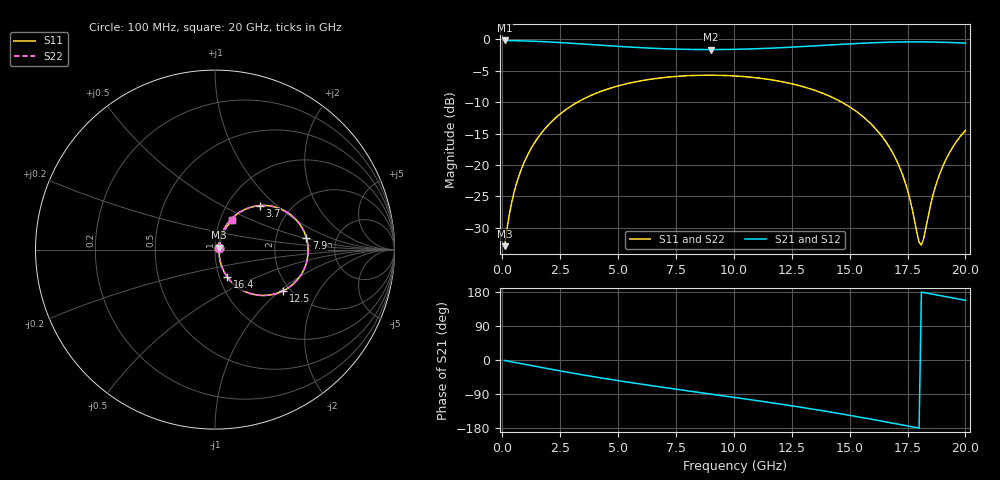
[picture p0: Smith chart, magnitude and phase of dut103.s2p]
! Touchstone file exported from HFSS 2026.1.0
!  File:  C:/ffzhzh/LocalFiles/Ansys_Project_Files/temp_train_TSV_RDL_103_1783044517_36532.aedt
!  Generated:  10:24:55 AM Jul  3, 2026
!  Design:  TSV_RDL
!  Project:  temp_train_TSV_RDL_103_1783044517_36532
! Variables:
!  h_bsmrdl = 3.23um
!  h_ox = 20um
!  h_rdl = 5um
!  h_sub = 89.23um
!  h_tmrdl = 4.69um
!  h_tsv = 89.23um
!  h_via = 3um
!  l_bsmrdl = 704.51um
!  l_sub = 3194.52um
!  l_tmrdl = 126.71um
!  m_sub = 200um
!  pitch = 52.87um
!  r_tsv = 2.7um
!  s_tmrdl = 10um
!  w_bsmrdl = 28.29um
!  w_sub = 500um
!  w_tmrdl = 29.76um
!  x_tsv_center1 = 141.59um
!  x_tsv_center2 = 874.39um
!  x_tsv_center3 = 1030.86um
!  x_tsv_center4 = 1763.66um
!  x_tsv_center5 = 1920.13um
!  x_tsv_center6 = 2652.93um
# GHz S MA R 50.000000
! Terminal data exported
! Port[1] = TM_RDL1_1_T1
! Port[2] = TM_RDL5_1_T1
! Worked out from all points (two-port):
!   200 points, 100 MHz to 20 GHz, reference 50 ohm
!   highest |S21| = -0.17 dB at 100 MHz (marker M1); lowest = -1.6 dB at 9 GHz (marker M2)
!   |S21| within 3 dB of the highest: start of sweep to end of sweep
!   lowest |S11| = -32.9 dB at 100 MHz (marker M3), VSWR 1.05, Z = 52 + j1.19 ohm
!   |S11| at or under -10 dB: start of sweep to 3.247 GHz; 14.66 GHz to end of sweep
!   |S22| runs from -32.9 to -5.7 dB; largest |S21 - S12| = 2.5e-14
!   S11 on the Smith chart (normalised r, x): 100 MHz: 1.04, +0.02; 3.7 GHz: 1.41, +0.79; 7.9 GHz: 3.00, +0.54; 12.5 GHz: 1.83, -1.05; 16.4 GHz: 1.09, -0.35; 20 GHz: 1.14, +0.39
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0.1  0.02263 30.5  0.9807 -1.2  0.9807 -1.2  0.02263 30.5
! Gamma 0 0 0 0
! Port Impedance 50 0 50 0
0.3  0.04009 55.5  0.9789 -3.6  0.9789 -3.6  0.04009 55.5
0.5  0.05987 63.0  0.977 -6.0  0.977 -6.0  0.05987 63.0
1.2  0.1312 66.0  0.9691 -14.1  0.9691 -14.1  0.1312 66.0
2.2  0.2282 58.7  0.9507 -25.5  0.9507 -25.5  0.2282 58.7
3.5  0.3351 46.5  0.9184 -39.5  0.9184 -39.5  0.3351 46.5
3.7  0.3493 44.6  0.9131 -41.6  0.9131 -41.6  0.3493 44.6
6.8  0.4929 16.7  0.8454 -70.9  0.8454 -70.9  0.4929 16.7
7.9  0.513 7.4  0.8336 -80.4  0.8336 -80.4  0.513 7.4
9  0.519 -1.6  0.8297 -89.9  0.8297 -89.9  0.519 -1.6
10.1  0.5112 -10.7  0.8338 -99.3  0.8338 -99.3  0.5112 -10.7
12.5  0.4435 -31.2  0.8674 -120.9  0.8674 -120.9  0.4435 -31.2
13.4  0.3986 -39.3  0.8863 -129.6  0.8863 -129.6  0.3986 -39.3
15.1  0.2826 -55.0  0.9237 -147.1  0.9237 -147.1  0.2826 -55.0
16.4  0.1689 -65.8  0.9461 -161.4  0.9461 -161.4  0.1689 -65.8
16.7  0.1404 -67.5  0.9496 -164.8  0.9496 -164.8  0.1404 -67.5
17.4  0.07273 -66.3  0.9548 -172.8  0.9548 -172.8  0.0727 -66.3
18  0.02433 -20.7  0.9556 -179.7  0.9556 -179.7  0.02425 -20.8
18.1  0.02307 2.8  0.9554 179.1  0.9554 179.1  0.02298 2.8
18.6  0.05761 58.4  0.9528 173.4  0.9528 173.4  0.05758 58.4
18.9  0.08595 63.0  0.9502 169.9  0.9502 169.9  0.08594 63.1
20  0.1888 59.5  0.9342 157.6  0.9342 157.6  0.1888 59.5
